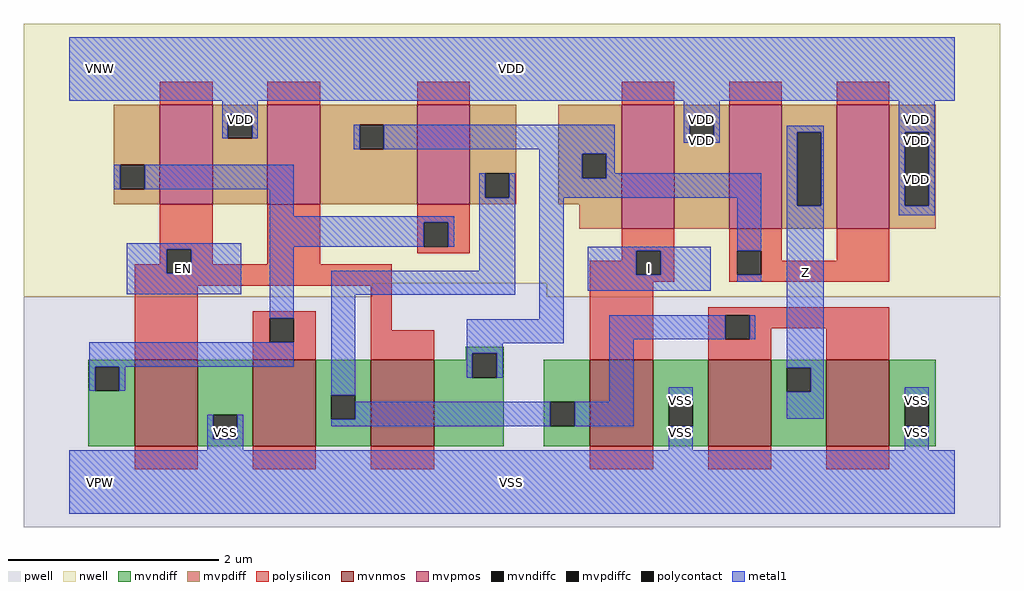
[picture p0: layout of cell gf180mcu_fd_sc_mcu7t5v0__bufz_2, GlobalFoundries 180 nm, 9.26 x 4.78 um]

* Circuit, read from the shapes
.subckt gf180mcu_fd_sc_mcu7t5v0__bufz_2 EN I Z VDD VNW VPW VSS
XM1 VSS EN n1 VPW nfet_06v0 w=0.82u l=0.6u
XM2 n2 n1 VSS VPW nfet_06v0 w=0.82u l=0.6u
XM3 n3 EN n2 VPW nfet_06v0 w=0.82u l=0.6u
XM4 VSS I n2 VPW nfet_06v0 w=0.82u l=0.6u
XM5 Z n2 VSS VPW nfet_06v0 w=0.82u l=0.6u m=2
XM6 VDD EN n1 VNW pfet_06v0 w=0.945u l=0.5u
XM7 n3 EN VDD VNW pfet_06v0 w=0.945u l=0.5u
XM8 n2 n1 n3 VNW pfet_06v0 w=0.945u l=0.5u
XM9 VDD I n3 VNW pfet_06v0 w=1.175u l=0.5u
XM10 Z n3 VDD VNW pfet_06v0 w=1.175u l=0.5u m=2
.ends

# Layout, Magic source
magic
tech gf180mcuD
magscale 1 10
<< nwell >>
rect -86 377 1766 870
rect -86 352 575 377
rect 906 352 1766 377
<< pwell >>
rect 575 352 906 377
rect -86 -86 1766 352
<< mvnmos >>
rect 124 68 244 232
rect 348 68 468 232
rect 572 68 692 232
rect 988 68 1108 232
rect 1212 68 1332 232
rect 1436 68 1556 232
<< mvpmos >>
rect 172 527 272 716
rect 376 527 476 716
rect 660 527 760 716
rect 1048 481 1148 716
rect 1252 481 1352 716
rect 1456 481 1556 716
<< mvndiff >>
rect 752 244 824 257
rect 752 232 765 244
rect 36 219 124 232
rect 36 173 49 219
rect 95 173 124 219
rect 36 68 124 173
rect 244 128 348 232
rect 244 82 273 128
rect 319 82 348 128
rect 244 68 348 82
rect 468 165 572 232
rect 468 119 497 165
rect 543 119 572 165
rect 468 68 572 119
rect 692 198 765 232
rect 811 198 824 244
rect 692 68 824 198
rect 900 152 988 232
rect 900 106 913 152
rect 959 106 988 152
rect 900 68 988 106
rect 1108 152 1212 232
rect 1108 106 1137 152
rect 1183 106 1212 152
rect 1108 68 1212 106
rect 1332 217 1436 232
rect 1332 171 1361 217
rect 1407 171 1436 217
rect 1332 68 1436 171
rect 1556 152 1644 232
rect 1556 106 1585 152
rect 1631 106 1644 152
rect 1556 68 1644 106
<< mvpdiff >>
rect 84 602 172 716
rect 84 556 97 602
rect 143 556 172 602
rect 84 527 172 556
rect 272 698 376 716
rect 272 652 301 698
rect 347 652 376 698
rect 272 527 376 652
rect 476 678 660 716
rect 476 632 551 678
rect 597 632 660 678
rect 476 527 660 632
rect 760 586 848 716
rect 760 540 789 586
rect 835 540 848 586
rect 760 527 848 540
rect 928 623 1048 716
rect 928 577 973 623
rect 1019 577 1048 623
rect 928 527 1048 577
rect 968 481 1048 527
rect 1148 690 1252 716
rect 1148 644 1177 690
rect 1223 644 1252 690
rect 1148 481 1252 644
rect 1352 664 1456 716
rect 1352 524 1381 664
rect 1427 524 1456 664
rect 1352 481 1456 524
rect 1556 664 1644 716
rect 1556 524 1585 664
rect 1631 524 1644 664
rect 1556 481 1644 524
<< mvndiffc >>
rect 49 173 95 219
rect 273 82 319 128
rect 497 119 543 165
rect 765 198 811 244
rect 913 106 959 152
rect 1137 106 1183 152
rect 1361 171 1407 217
rect 1585 106 1631 152
<< mvpdiffc >>
rect 97 556 143 602
rect 301 652 347 698
rect 551 632 597 678
rect 789 540 835 586
rect 973 577 1019 623
rect 1177 644 1223 690
rect 1381 524 1427 664
rect 1585 524 1631 664
<< polysilicon >>
rect 172 716 272 760
rect 376 716 476 760
rect 660 716 760 760
rect 1048 716 1148 760
rect 1252 716 1352 760
rect 1456 716 1556 760
rect 172 442 272 527
rect 172 413 185 442
rect 124 396 185 413
rect 231 413 272 442
rect 376 413 476 527
rect 660 493 760 527
rect 660 447 673 493
rect 719 447 760 493
rect 660 434 760 447
rect 1048 439 1148 481
rect 1048 420 1076 439
rect 231 396 612 413
rect 124 373 612 396
rect 124 232 244 373
rect 348 311 468 324
rect 348 265 380 311
rect 426 265 468 311
rect 348 232 468 265
rect 572 288 612 373
rect 988 393 1076 420
rect 1122 393 1148 439
rect 988 380 1148 393
rect 1252 439 1352 481
rect 1252 393 1267 439
rect 1313 420 1352 439
rect 1456 420 1556 481
rect 1313 393 1556 420
rect 1252 380 1556 393
rect 572 232 692 288
rect 988 232 1108 380
rect 1212 317 1556 332
rect 1212 271 1245 317
rect 1291 292 1556 317
rect 1291 271 1332 292
rect 1212 232 1332 271
rect 1436 232 1556 292
rect 124 24 244 68
rect 348 24 468 68
rect 572 24 692 68
rect 988 24 1108 68
rect 1212 24 1332 68
rect 1436 24 1556 68
<< polycontact >>
rect 185 396 231 442
rect 673 447 719 493
rect 380 265 426 311
rect 1076 393 1122 439
rect 1267 393 1313 439
rect 1245 271 1291 317
<< metal1 >>
rect 0 724 1680 844
rect 290 698 358 724
rect 290 652 301 698
rect 347 652 358 698
rect 1166 690 1234 724
rect 540 632 551 678
rect 597 632 1035 678
rect 1166 644 1177 690
rect 1223 644 1234 690
rect 1361 664 1432 676
rect 892 623 1035 632
rect 84 556 97 602
rect 143 556 426 602
rect 380 504 426 556
rect 778 540 789 586
rect 835 540 846 586
rect 380 493 730 504
rect 109 442 326 453
rect 109 396 185 442
rect 231 396 326 442
rect 109 356 326 396
rect 380 447 673 493
rect 719 447 730 493
rect 380 311 426 447
rect 778 401 846 540
rect 38 219 426 265
rect 497 355 846 401
rect 892 577 973 623
rect 1019 586 1035 623
rect 1019 577 1313 586
rect 892 540 1313 577
rect 38 173 49 219
rect 95 173 106 219
rect 497 165 543 355
rect 892 309 938 540
rect 984 439 1217 447
rect 984 393 1076 439
rect 1122 393 1217 439
rect 984 363 1217 393
rect 1267 439 1313 540
rect 1267 380 1313 393
rect 1361 524 1381 664
rect 1427 524 1432 664
rect 754 263 938 309
rect 1025 271 1245 317
rect 1291 271 1302 317
rect 754 244 822 263
rect 754 198 765 244
rect 811 198 822 244
rect 262 82 273 128
rect 319 82 330 128
rect 1025 152 1071 271
rect 1361 217 1432 524
rect 1574 664 1642 724
rect 1574 524 1585 664
rect 1631 524 1642 664
rect 1574 506 1642 524
rect 543 119 913 152
rect 497 106 913 119
rect 959 106 1071 152
rect 1137 152 1183 180
rect 1407 171 1432 217
rect 1361 120 1432 171
rect 1585 152 1631 180
rect 262 60 330 82
rect 1137 60 1183 106
rect 1585 60 1631 106
rect 0 -60 1680 60
<< labels >>
flabel metal1 s 984 363 1217 447 0 FreeSans 400 0 0 0 I
port 2 nsew default input
flabel metal1 s 0 724 1680 844 0 FreeSans 400 0 0 0 VDD
port 4 nsew power bidirectional abutment
flabel metal1 s 1585 128 1631 180 0 FreeSans 400 0 0 0 VSS
port 7 nsew ground bidirectional abutment
flabel metal1 s 109 356 326 453 0 FreeSans 400 0 0 0 EN
port 1 nsew default input
flabel metal1 s 1361 120 1432 676 0 FreeSans 400 0 0 0 Z
port 3 nsew default output
flabel nwell s 10 734 110 834 0 FreeSans 400 0 0 0 VNW
port 5 nsew power bidirectional
flabel pwell s 10 -50 110 50 0 FreeSans 400 0 0 0 VPW
port 6 nsew ground bidirectional
rlabel metal1 s 1574 652 1642 724 1 VDD
port 4 nsew power bidirectional abutment
rlabel metal1 s 1166 652 1234 724 1 VDD
port 4 nsew power bidirectional abutment
rlabel metal1 s 290 652 358 724 1 VDD
port 4 nsew power bidirectional abutment
rlabel metal1 s 1574 644 1642 652 1 VDD
port 4 nsew power bidirectional abutment
rlabel metal1 s 1166 644 1234 652 1 VDD
port 4 nsew power bidirectional abutment
rlabel metal1 s 1574 506 1642 644 1 VDD
port 4 nsew power bidirectional abutment
rlabel metal1 s 1137 128 1183 180 1 VSS
port 7 nsew ground bidirectional abutment
rlabel metal1 s 1585 60 1631 128 1 VSS
port 7 nsew ground bidirectional abutment
rlabel metal1 s 1137 60 1183 128 1 VSS
port 7 nsew ground bidirectional abutment
rlabel metal1 s 262 60 330 128 1 VSS
port 7 nsew ground bidirectional abutment
rlabel metal1 s 0 -60 1680 60 1 VSS
port 7 nsew ground bidirectional abutment
<< properties >>
string FIXED_BBOX 0 0 1680 784
string GDS_END 1396868
string GDS_FILE $PDKPATH/libs.ref/gf180mcu_fd_sc_mcu7t5v0/gds/gf180mcu_fd_sc_mcu7t5v0.gds
string GDS_START 1392146
string LEFclass core
string LEFsite GF018hv5v_mcu_sc7
string LEFsymmetry X Y
<< end >>
